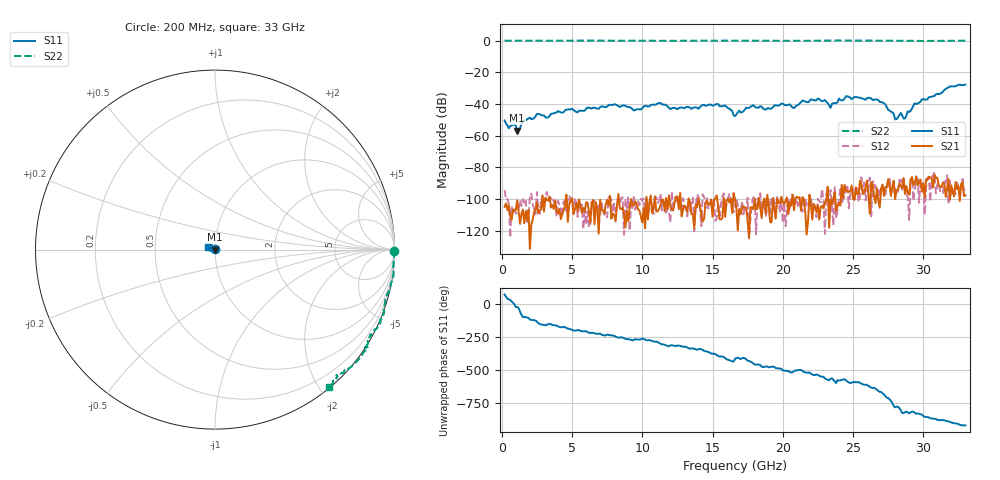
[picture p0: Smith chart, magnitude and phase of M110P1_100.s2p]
# GHZ S RI R 50
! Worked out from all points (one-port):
!   329 points, 200 MHz to 33 GHz, reference 50 ohm
!   lowest |S11| = -56.9 dB at 1.1 GHz (marker M1), VSWR 1.00, Z = 50.1 - j0.0528 ohm
!   |S11| at or under -10 dB: start of sweep to end of sweep
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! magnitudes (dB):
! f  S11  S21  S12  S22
! 200 MHz  -50.4  -105.0  -94.4  0.0
! 1.1 GHz  -56.9  -100.9  -108.9  0.0
! 2.5 GHz  -46.3  -102.2  -95.7  0.0
! 5.7 GHz  -44.4  -108.8  -103.5  0.0
! 9.4 GHz  -44.2  -104.2  -97.7  0.0
! 11.2 GHz  -39.4  -106.4  -101.2  -0.1
! 12 GHz  -43.3  -105.0  -115.0  -0.1
! 15.4 GHz  -40.1  -104.6  -102.5  0.1
! 16.6 GHz  -47.6  -100.1  -104.9  0.1
! 17.9 GHz  -40.8  -106.6  -99.0  0.0
! 20.8 GHz  -42.6  -107.2  -100.3  -0.1
! 22.1 GHz  -37.3  -113.1  -105.9  0.0
! 23 GHz  -37.6  -102.1  -122.1  0.0
! 23.4 GHz  -42.5  -100.3  -94.5  0.0
! 24.5 GHz  -35.1  -94.5  -92.9  0.0
! 26.2 GHz  -36.2  -109.5  -86.5  0.0
! 27.6 GHz  -44.2  -90.6  -86.5  0.0
! 28 GHz  -49.8  -100.2  -93.3  -0.1
! 28.4 GHz  -45.7  -92.0  -87.9  -0.1
! 28.7 GHz  -49.2  -96.9  -95.5  -0.1
! 29.4 GHz  -39.5  -89.6  -93.2  -0.1
! 33 GHz  -27.8  -97.7  -94.3  -0.1
